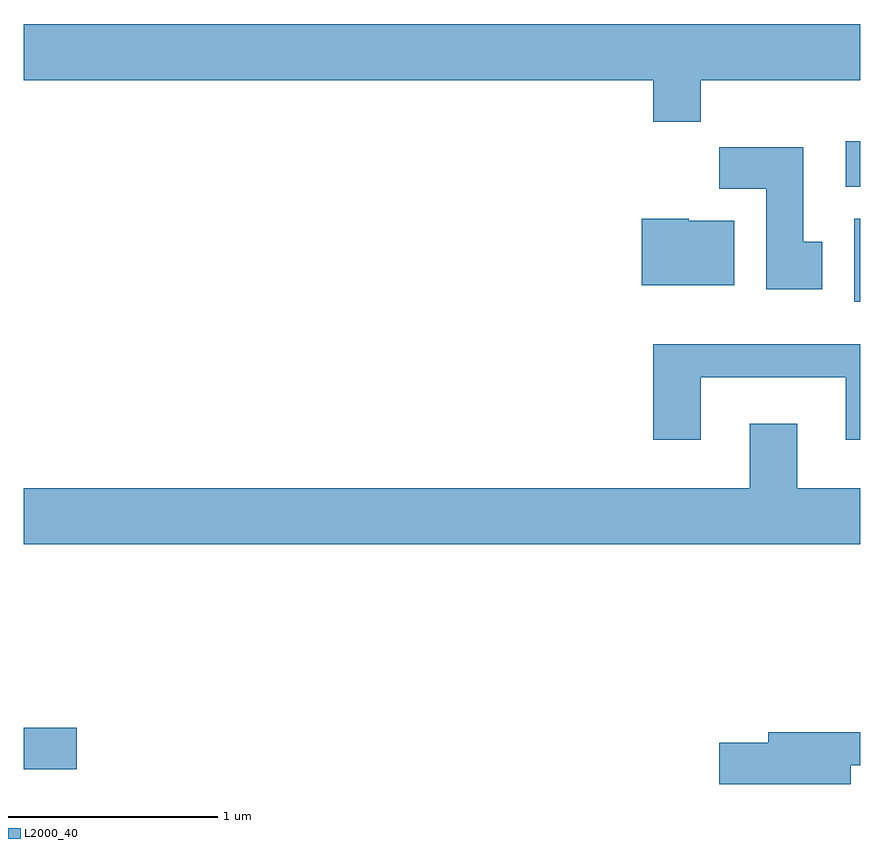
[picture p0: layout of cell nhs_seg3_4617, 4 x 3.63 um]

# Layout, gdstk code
import gdstk
lib = gdstk.Library(unit=1e-6, precision=1e-09)
def R(c, l, rs):  # rectangles x0, y0, x1, y1
    for r in rs: c.add(gdstk.rectangle(r[:2], r[2:], *l))
def P(c, l, *ps):  # polygons
    for p in ps: c.add(gdstk.Polygon(p, *l))
L2000_40 = (2000, 40)

nhs_seg3_4617 = lib.new_cell('nhs_seg3_4617')
R(nhs_seg3_4617, L2000_40, [(319.611,1238.161,319.864,1238.359), (323.581,1240.396,323.611,1240.794), (323.541,1240.946,323.611,1241.164)])
P(nhs_seg3_4617, L2000_40, [(322.849,1241.456),(323.611,1241.456),(323.611,1241.724),(319.611,1241.724),(319.611,1241.456),(322.621,1241.456),(322.621,1241.256),(322.849,1241.256)],
  [(323.429,1240.684),(323.339,1240.684),(323.339,1241.134),(322.936,1241.134),(322.936,1240.936),(323.161,1240.936),(323.161,1240.456),(323.429,1240.456)],
  [(323.009,1240.784),(322.79,1240.784),(322.79,1240.794),(322.566,1240.794),(322.566,1240.476),(323.009,1240.476)],
  [(322.849,1240.036),(323.541,1240.036),(323.541,1239.736),(323.611,1239.736),(323.611,1240.194),(322.621,1240.194),(322.621,1239.736),(322.849,1239.736)],
  [(323.611,1239.504),(323.309,1239.504),(323.309,1239.814),(323.081,1239.814),(323.081,1239.504),(319.611,1239.504),(319.611,1239.236),(323.611,1239.236)],
  [(323.564,1238.181),(323.611,1238.181),(323.611,1238.339),(323.171,1238.339),(323.171,1238.289),(322.936,1238.289),(322.936,1238.091),(323.564,1238.091)])

lib.write_gds('nhs_seg3_4617.gds')
